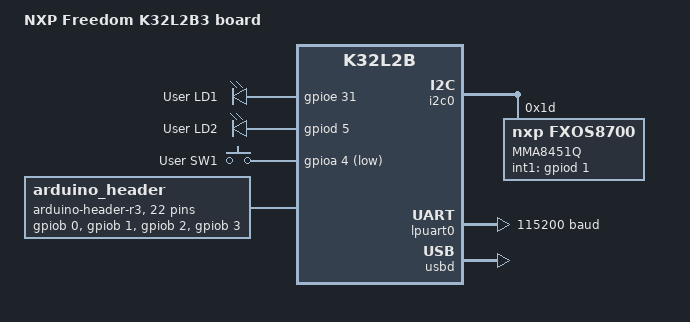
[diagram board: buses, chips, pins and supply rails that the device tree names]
/*
 * Copyright (c) 2019, NXP
 *
 * SPDX-License-Identifier: Apache-2.0
 */

/dts-v1/;

#include <nxp/nxp_k32l2b.dtsi>

/ {
	model = "NXP Freedom K32L2B3 board";
	compatible = "nxp,frdm-k32l2b3", "nxp,k32l2b";

	aliases {
		uart-0 = &lpuart0;
		i2c-0 = &i2c0;
		gpio-a = &gpioa;
		gpio-b = &gpiob;
		gpio-c = &gpioc;
		gpio-d = &gpiod;
		gpio-e = &gpioe;
		led0 = &red_led;
		led1 = &green_led;
		sw0 = &user_button_0;
	};

	chosen {
		zephyr,sram = &sram0;
		zephyr,flash = &flash0;
		zephyr,console = &lpuart0;
		zephyr,shell-uart = &lpuart0;
	};

	leds {
		compatible = "gpio-leds";
		red_led: led_0 {
			gpios = <&gpioe 31 0>;
			label = "User LD1";
		};
		green_led: led_1 {
			gpios = <&gpiod 5 0>;
			label = "User LD2";
		};
	};

	gpio_keys {
		compatible = "gpio-keys";
		user_button_0: button_0 {
			label = "User SW1";
			gpios = <&gpioa 4 (GPIO_INT_ACTIVE_LOW
						| GPIO_PUD_PULL_UP)>;
		};
	};

	arduino_header: connector {
		compatible = "arduino-header-r3";
		#gpio-cells = <2>;
		gpio-map-mask = <0xffffffff 0xffffffc0>;
		gpio-map-pass-thru = <0 0x3f>;
		gpio-map = <0 0 &gpiob 0 0>,	/* A0 */
				<1 0 &gpiob 1 0>,	/* A1 */
				<2 0 &gpiob 2 0>,	/* A2 */
				<3 0 &gpiob 3 0>,	/* A3 */
				<4 0 &gpioc 2 0>,	/* A4 */
				<5 0 &gpioc 1 0>,	/* A5 */
				<6 0 &gpioa 1 0>,	/* D0 */
				<7 0 &gpioa 2 0>,	/* D1 */
				<8 0 &gpiod 3 0>,	/* D2 */
				<9 0 &gpioa 12 0>,	/* D3 */
				<10 0 &gpioa 4 0>,	/* D4 */
				<11 0 &gpioa 5 0>,	/* D5 */
				<12 0 &gpioe 29 0>,	/* D6 */
				<13 0 &gpioe 30 0>,	/* D7 */
				<14 0 &gpioa 13 0>,	/* D8 */
				<15 0 &gpiod 2 0>,	/* D9 */
				<16 0 &gpiod 4 0>,	/* D10 */
				<17 0 &gpiod 6 0>,	/* D11 */
				<18 0 &gpiod 7 0>,	/* D12 */
				<19 0 &gpiod 5 0>,	/* D13 */
				<20 0 &gpioe 0 0>,	/* D14 */
				<21 0 &gpioe 1 0>;	/* D15 */
	};
};

&cpu0 {
	clock-frequency = <48000000>;
};

&i2c0 {
	status = "okay";
	mma8451q@1d {
		compatible = "nxp,fxos8700","nxp,mma8451q";
		reg = <0x1d>;
		label = "MMA8451Q";
		int1-gpios = <&gpiod 1 0>;
	};
};

&lpuart0 {
	status = "okay";
	current-speed = <115200>;
};

&usbd {
	compatible = "nxp,kinetis-usbd";
	status = "okay";
	num-bidir-endpoints = <8>;
};
